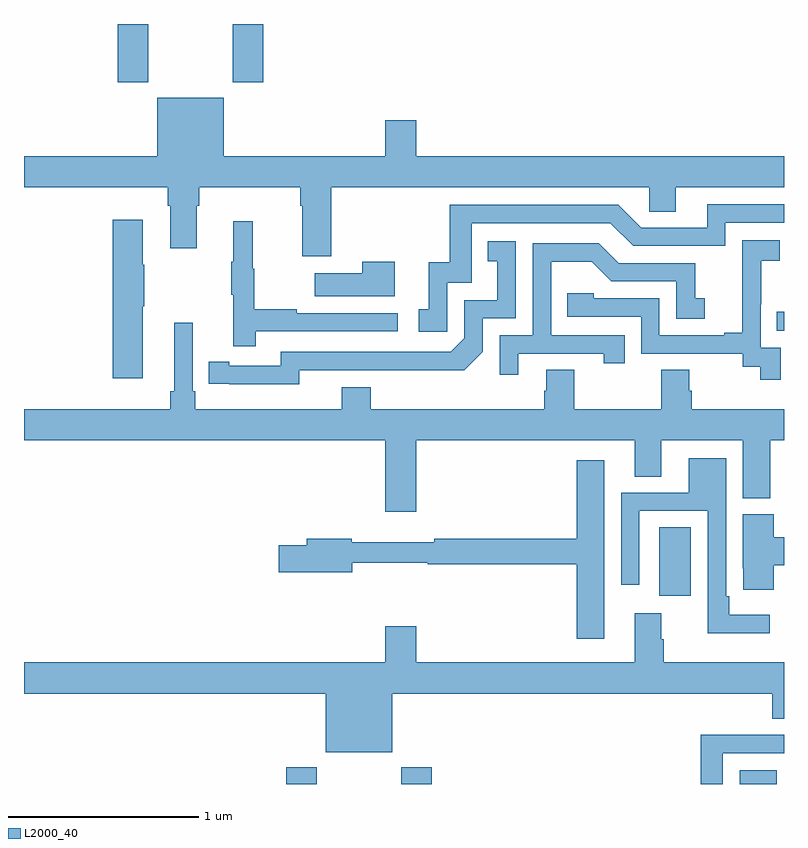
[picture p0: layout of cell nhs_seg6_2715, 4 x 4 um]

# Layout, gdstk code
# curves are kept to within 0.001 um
import gdstk
lib = gdstk.Library(unit=1e-6, precision=1e-09)
def R(c, l, rs):  # rectangles x0, y0, x1, y1
    for r in rs: c.add(gdstk.rectangle(r[:2], r[2:], *l))
def P(c, l, *ps):  # polygons
    for p in ps: c.add(gdstk.Polygon(p, *l))
L2000_40 = (2000, 40)

nhs_seg6_2715 = lib.new_cell('nhs_seg6_2715')
R(nhs_seg6_2715, L2000_40, [(272.381,973.5,272.541,973.588), (272.986,973.5,273.146,973.588), (274.766,973.5,274.963,973.573), (274.343,974.49,274.51,974.852), (274.963,975.885,275,975.986), (271.493,977.193,271.653,977.5), (272.098,977.193,272.258,977.5)])
P(nhs_seg6_2715, L2000_40, [(272.618,976.64),(274.29,976.64),(274.29,976.513),(274.429,976.513),(274.429,976.64),(275,976.64),(275,976.804),(273.064,976.804),(273.064,976.993),(272.9,976.993),(272.9,976.804),(272.05,976.804),(272.05,977.113),(271.7,977.113),(271.7,976.804),(271,976.804),(271,976.64),(271.757,976.64),(271.757,976.544),(271.769,976.544),(271.769,976.32),(271.909,976.32),(271.909,976.544),(271.922,976.544),(271.922,976.64),(272.453,976.64),(272.453,976.544),(272.465,976.544),(272.465,976.278),(272.618,976.278)],
  [(273.228,976.137),(273.357,976.137),(273.357,976.452),(274.086,976.452),(274.206,976.332),(274.692,976.332),(274.692,976.455),(275,976.455),(275,976.551),(274.595,976.551),(274.595,976.428),(274.248,976.428),(274.128,976.548),(273.241,976.548),(273.241,976.246),(273.131,976.246),(273.131,975.999),(273.078,975.999),(273.078,975.879),(273.228,975.879)],
  [(271.624,976.015),(271.632,976.015),(271.632,976.232),(271.624,976.232),(271.624,976.471),(271.466,976.471),(271.466,975.636),(271.624,975.636)],
  [(272.219,975.882),(272.968,975.882),(272.968,975.978),(272.435,975.978),(272.435,975.998),(272.212,975.998),(272.212,976.212),(272.204,976.212),(272.204,976.462),(272.102,976.462),(272.102,976.249),(272.091,976.249),(272.091,976.075),(272.102,976.075),(272.102,975.804),(272.219,975.804)],
  [(274.983,975.795),(274.878,975.795),(274.878,976.025),(274.88,976.025),(274.88,976.253),(274.978,976.253),(274.978,976.363),(274.78,976.363),(274.78,976.157),(274.781,976.157),(274.781,975.874),(274.685,975.874),(274.685,975.861),(274.344,975.861),(274.344,976.056),(273.999,976.056),(273.999,976.083),(273.859,976.083),(273.859,975.96),(274.248,975.96),(274.248,975.765),(274.782,975.765),(274.782,975.697),(274.875,975.697),(274.875,975.627),(274.983,975.627)],
  [(272.448,975.678),(273.316,975.677),(273.414,975.774),(273.414,975.951),(273.588,975.951),(273.588,976.357),(273.442,976.357),(273.442,976.251),(273.491,976.251),(273.491,976.047),(273.318,976.047),(273.318,975.846),(273.246,975.774),(272.352,975.774),(272.352,975.702),(272.08,975.702),(272.08,975.722),(271.972,975.722),(271.972,975.606),(272.448,975.605)],
  [(273.601,975.765),(274.052,975.765),(274.052,975.714),(274.163,975.714),(274.163,975.861),(273.774,975.861),(273.774,976.25),(273.988,976.25),(274.092,976.146),(274.434,976.146),(274.434,975.948),(274.582,975.948),(274.582,976.057),(274.533,976.057),(274.533,976.242),(274.129,976.242),(274.024,976.347),(273.678,976.347),(273.678,975.861),(273.504,975.861),(273.504,975.654),(273.601,975.654)],
  [(272.95,976.249),(272.78,976.249),(272.78,976.189),(272.531,976.189),(272.531,976.067),(272.95,976.067)],
  [(273.064,975.308),(274.214,975.308),(274.214,975.118),(274.354,975.118),(274.354,975.308),(274.784,975.308),(274.784,975.004),(274.928,975.004),(274.928,975.308),(275,975.308),(275,975.472),(274.514,975.472),(274.514,975.57),(274.501,975.57),(274.501,975.68),(274.354,975.68),(274.354,975.472),(273.897,975.472),(273.897,975.68),(273.749,975.68),(273.749,975.57),(273.737,975.57),(273.737,975.472),(272.825,975.472),(272.825,975.589),(272.672,975.589),(272.672,975.472),(271.901,975.472),(271.901,975.568),(271.887,975.568),(271.887,975.928),(271.79,975.928),(271.79,975.568),(271.771,975.568),(271.771,975.472),(271,975.472),(271,975.308),(272.9,975.308),(272.9,974.934),(273.064,974.934)],
  [(274.924,974.392),(274.711,974.392),(274.711,974.488),(274.695,974.488),(274.695,975.214),(274.499,975.214),(274.499,975.033),(274.143,975.033),(274.143,974.55),(274.239,974.55),(274.239,974.937),(274.599,974.937),(274.599,974.294),(274.924,974.294)],
  [(274.054,975.205),(273.908,975.205),(273.908,974.792),(273.16,974.792),(273.16,974.773),(272.724,974.773),(272.724,974.792),(272.489,974.792),(272.489,974.756),(272.34,974.756),(272.34,974.614),(272.728,974.614),(272.728,974.664),(273.124,974.664),(273.124,974.656),(273.908,974.656),(273.908,974.265),(274.054,974.265)],
  [(274.946,974.651),(275,974.651),(275,974.798),(274.946,974.798),(274.946,974.919),(274.784,974.919),(274.784,974.635),(274.785,974.635),(274.785,974.523),(274.946,974.523)],
  [(272.938,973.976),(274.937,973.976),(274.937,973.843),(275,973.843),(275,974.14),(274.367,974.14),(274.367,974.261),(274.354,974.261),(274.354,974.398),(274.214,974.398),(274.214,974.14),(273.064,974.14),(273.064,974.329),(272.9,974.329),(272.9,974.14),(271,974.14),(271,973.976),(272.588,973.976),(272.588,973.667),(272.938,973.667)],
  [(274.677,973.662),(275,973.662),(275,973.758),(274.853,973.758),(274.853,973.76),(274.561,973.76),(274.561,973.5),(274.677,973.5)])

lib.write_gds('nhs_seg6_2715.gds')
